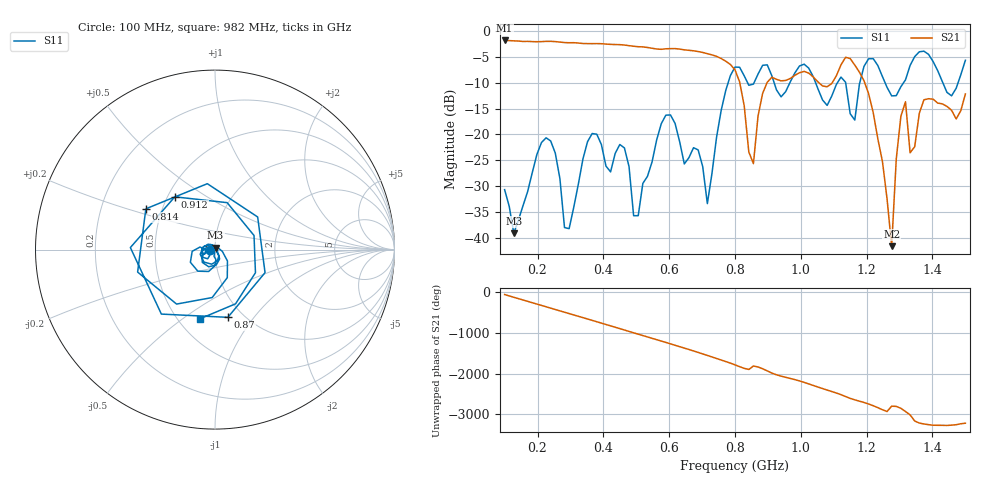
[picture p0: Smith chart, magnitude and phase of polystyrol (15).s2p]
! NanoVNA-App
! Date: 2025-09-25 15:30:00
! Start: 100MHz Stop: 1,5GHz Points: 101
! S-Parameter data: F S11 S21 S12 S22
# Hz S RI R 50
!  Frequency  S11_Real  S11_Imag  S21_Real  S21_Imag  S12_Real  S12_Imag  S22_Real  S22_Imag
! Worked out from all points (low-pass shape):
!   101 points, 100 MHz to 1.5 GHz, reference 50 ohm
!   highest |S21| = -1.80 dB at 100 MHz (marker M1); lowest = -41.7 dB at 1.276 GHz (marker M2)
!   |S21| within 3 dB of the highest: start of sweep to 740.1 MHz
!   lowest |S11| = -39.1 dB at 128 MHz (marker M3), VSWR 1.02, Z = 50.3 + j1.06 ohm
!   |S11| at or under -10 dB: start of sweep to 779.1 MHz; 1.045 GHz to 1.111 GHz (66.22 MHz wide, 6.14 % of centre); 1.256 GHz to 1.312 GHz (56 MHz wide, 4.36 % of centre) (the widest 3 of 7)
!   S12 and S22 are empty: the file has one direction only
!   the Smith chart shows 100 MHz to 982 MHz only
!   S11 on the Smith chart (normalised r, x): 100 MHz: 0.94, -0.01; 814 MHz: 0.41, +0.23; 870 MHz: 0.85, -0.75; 912 MHz: 0.54, +0.37; 982 MHz: 0.64, -0.58
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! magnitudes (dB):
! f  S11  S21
! 100 MHz  -30.7  -1.8
! 128 MHz  -39.1  -1.9
! 212 MHz  -21.6  -2.0
! 282 MHz  -38.1  -2.2
! 338 MHz  -24.8  -2.4
! 464 MHz  -22.6  -2.7
! 506 MHz  -35.7  -3.0
! 576 MHz  -17.9  -3.5
! 716 MHz  -33.4  -4.4
! 800 MHz  -7.0  -7.5
! 814 MHz  -7.0  -9.8
! 856 MHz  -10.3  -25.7
! 870 MHz  -8.3  -16.5
! 912 MHz  -8.6  -8.9
! 982 MHz  -8.1  -8.5
! 1.038 GHz  -8.8  -8.9
! 1.164 GHz  -17.2  -6.6
! 1.192 GHz  -6.8  -9.6
! 1.276 GHz  -12.5  -41.7
! 1.318 GHz  -9.4  -13.7
! 1.332 GHz  -6.6  -23.6
! 1.5 GHz  -5.6  -12.2
